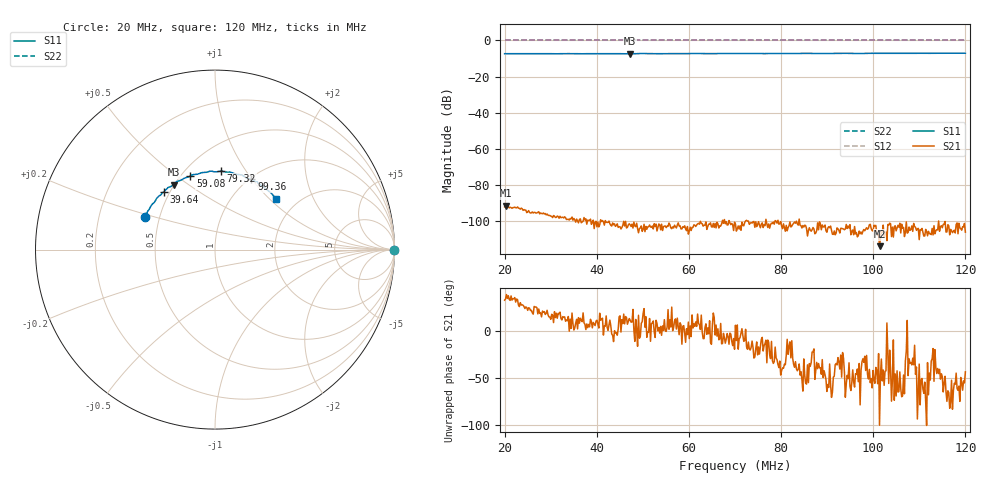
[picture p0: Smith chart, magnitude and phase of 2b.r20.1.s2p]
! Anritsu VNA Master:  Model: MS2036C/10/77
! SN:  1601066
! /card0/usr/18may27.balun/252b.r20.s2p
! Existing Calibration Information:
! TYPE:  Current Settings,  Active Cal Settings
! TIME:  05/27/2018 12:04:22 PM,  05/27/2018 11:54:56 AM
! INTERNAL TEMP:  50.8 C,  49.3 C
! # POINTS:  500,  500
! START FREQ:  20.000 MHz,  20.000 MHz
! STOP FREQ:  120.000 MHz,  120.000 MHz
! SOURCE POWER:  High,  High
! IFBW:  50 Hz,  50 Hz
! AVG FACTOR:  1 ,  1
! REF PLANE 1:  0 mm,  0 mm
! REF PLANE 2:  0 mm,  0 mm
! CAL TYPE:  Full S11,  Full S11
! CAL METHOD:  SOLT,  SOLT
! CAL LINE TYPE:  Coax,  Coax
! DUT PORT 1:  K-Conn(M),  K-Conn(M)
! DUT PORT 2:  K-Conn(M),  K-Conn(M)
! CAL STATUS:  OK: Accuracy High,  --
# GHZ S DB R 50.0
! FREQ.GHZ  S11DB  S11A  S21DB  S21A  S12DB  S12A  S22DB  S22A
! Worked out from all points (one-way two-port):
!   500 points, 20 MHz to 120 MHz, reference 50 ohm
!   highest |S21| = -91.30 dB at 20.2 MHz (marker M1); lowest = -113.7 dB at 101.4 MHz (marker M2)
!   lowest |S11| = -7.4 dB at 47.25 MHz (marker M3), VSWR 2.50, Z = 24.9 + j22 ohm
!   |S11| at or under -10 dB: nowhere
!   |S22| runs from 0.0 to 0.0 dB; largest |S21 - S12| = 1
!   S11 on the Smith chart (normalised r, x): 20 MHz: 0.41, +0.18; 39.64 MHz: 0.46, +0.37; 59.08 MHz: 0.56, +0.56; 79.32 MHz: 0.72, +0.78; 99.36 MHz: 1.02, +0.99; 120 MHz: 1.56, +1.10
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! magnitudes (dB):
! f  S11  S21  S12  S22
! 20 MHz  -7.3  -92.0  0.0  0.0
! 20.2 MHz  -7.3  -91.3  0.0  0.0
! 35.23 MHz  -7.3  -99.1  0.0  0.0
! 36.83 MHz  -7.3  -100.3  0.0  0.0
! 39.64 MHz  -7.3  -100.5  0.0  0.0
! 43.65 MHz  -7.3  -101.9  0.0  0.0
! 47.25 MHz  -7.4  -101.9  0.0  0.0
! 49.66 MHz  -7.2  -102.5  0.0  0.0
! 53.47 MHz  -7.3  -101.4  0.0  0.0
! 59.08 MHz  -7.3  -102.4  0.0  0.0
! 70.1 MHz  -7.2  -101.4  0.0  0.0
! 72.71 MHz  -7.2  -99.8  0.0  0.0
! 75.91 MHz  -7.3  -100.8  0.0  0.0
! 79.32 MHz  -7.1  -99.3  0.0  0.0
! 86.73 MHz  -7.2  -104.5  0.0  0.0
! 89.14 MHz  -7.2  -103.1  0.0  0.0
! 92.95 MHz  -7.1  -103.8  0.0  0.0
! 96.75 MHz  -7.2  -107.9  0.0  0.0
! 99.36 MHz  -7.1  -101.6  0.0  0.0
! 101.4 MHz  -7.1  -113.7  0.0  0.0
! 103.4 MHz  -7.1  -102.0  0.0  0.0
! 120 MHz  -7.1  -105.9  0.0  0.0
